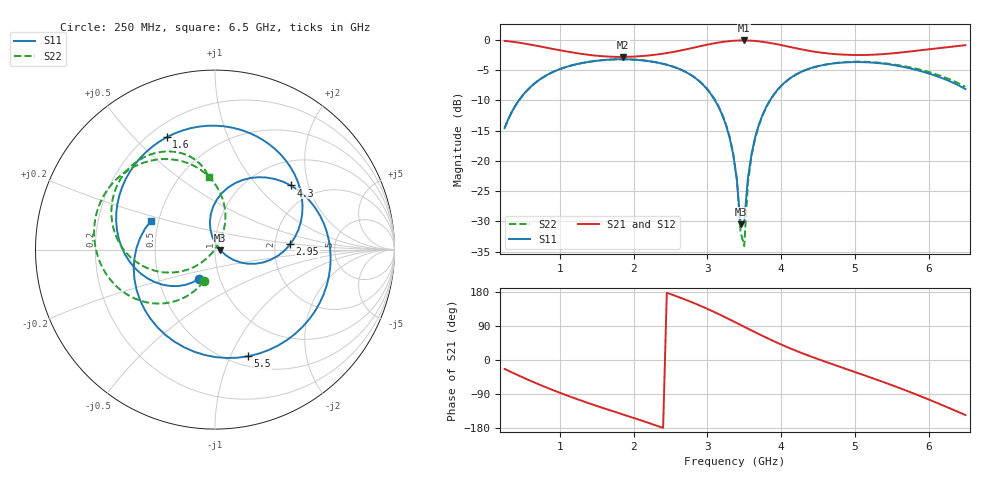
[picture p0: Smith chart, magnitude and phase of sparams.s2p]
! NobuRF pozar-ex5.5-quarter-wave: ports 1 "p1", 2 "p2"; 4900 + 4900 steps
# GHz S RI R 50
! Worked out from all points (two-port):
!   126 points, 250 MHz to 6.5 GHz, reference 50 ohm
!   highest |S21| = -0.10 dB at 3.5 GHz (marker M1); lowest = -2.8 dB at 1.85 GHz (marker M2)
!   |S21| within 3 dB of the highest: start of sweep to end of sweep
!   lowest |S11| = -30.5 dB at 3.45 GHz (marker M3), VSWR 1.06, Z = 53.1 - j0.366 ohm
!   |S11| at or under -10 dB: start of sweep to 444 MHz; 3.103 GHz to 3.849 GHz (746.3 MHz wide, 21.5 % of centre)
!   |S22| runs from -34.1 to -3.2 dB; largest |S21 - S12| = 2.8e-05
!   S11 on the Smith chart (normalised r, x): 250 MHz: 0.79, -0.27; 1.6 GHz: 0.27, +0.63; 2.95 GHz: 2.43, +0.17; 4.3 GHz: 1.50, +1.55; 5.5 GHz: 0.60, -1.17; 6.5 GHz: 0.45, +0.17
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0.25  -0.09 -0.163  0.8984 -0.3931  0.8984 -0.3931  -0.063 -0.1762
0.7  -0.4461 -0.1036  0.4025 -0.7932  0.4025 -0.7932  -0.3452 -0.2993
1.3  -0.4751 0.4329  -0.2346 -0.7281  -0.2346 -0.7281  -0.639 -0.0746
1.6  -0.2692 0.6259  -0.4458 -0.5792  -0.4458 -0.5792  -0.6737 0.0977
1.85  -0.0439 0.6898  -0.5806 -0.431  -0.5806 -0.431  -0.6472 0.2423
2.35  0.3682 0.5274  -0.7591 -0.0555  -0.7591 -0.0555  -0.4473 0.4638
2.65  0.4843 0.2881  -0.7838 0.2377  -0.7838 0.2377  -0.2547 0.504
2.95  0.4188 0.0291  -0.6815 0.5865  -0.6815 0.5865  -0.0487 0.4202
3.25  0.183 -0.0788  -0.3636 0.8979  -0.3636 0.8979  0.0582 0.1948
3.4  0.0617 -0.0327  -0.1294 0.9774  -0.1294 0.9774  0.0341 0.0627
3.45  0.0298 -0.00345  -0.0457 0.9871  -0.0457 0.9871  0.0135 0.0221
3.5  0.00401 0.0313  0.0388 0.9877  0.0388 0.9877  -0.0128 -0.015
3.55  -0.0147 0.0702  0.1227 0.9792  0.1227 0.9792  -0.0442 -0.0479
3.7  -0.0231 0.1988  0.3586 0.9028  0.3586 0.9028  -0.1602 -0.1142
4  0.152 0.3874  0.6835 0.5938  0.6835 0.5938  -0.4047 -0.0902
4.3  0.422 0.3577  0.793 0.2414  0.793 0.2414  -0.5479 0.0667
4.45  0.5314 0.2677  0.7943 0.0835  0.7943 0.0835  -0.5736 0.1567
4.95  0.6225 -0.1995  0.6612 -0.3556  0.6612 -0.3556  -0.5153 0.4101
5.5  0.1835 -0.5944  0.3116 -0.7067  0.3116 -0.7068  -0.3227 0.5402
5.75  -0.1165 -0.5688  0.0745 -0.7978  0.0745 -0.7979  -0.2306 0.5455
6.05  -0.3917 -0.3353  -0.2612 -0.7996  -0.2612 -0.7996  -0.1328 0.5147
6.5  -0.358 0.159  -0.7425 -0.5146  -0.7425 -0.5146  -0.0362 0.4068
